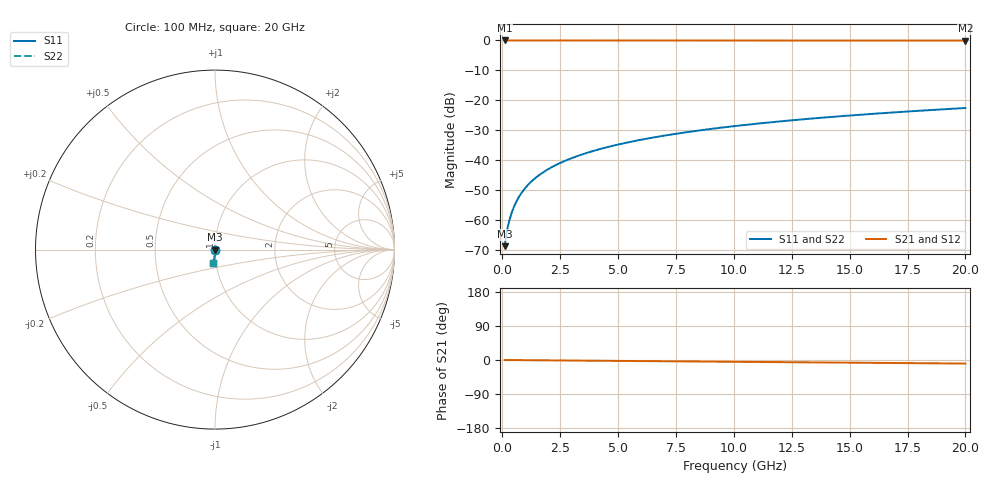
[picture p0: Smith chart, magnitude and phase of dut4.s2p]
! Touchstone file exported from HFSS 2026.1.0
!  File:  C:/ffzhzh/LocalFiles/Ansys_Project_Files/temp_val_TSV_4_1782974735_45568.aedt
!  Generated:  02:47:15 PM Jul  2, 2026
!  Design:  TSV
!  Project:  temp_val_TSV_4_1782974735_45568
! Variables:
!  h_bsmrdl = 2um
!  h_ox = 20um
!  h_rdl = 5um
!  h_sub = 91.24um
!  h_tmrdl = 5um
!  h_tsv = 91.24um
!  h_via = 3um
!  l_bsmrdl = 300um
!  l_sub = 416.96um
!  l_tmrdl = 200um
!  m_sub = 200um
!  pitch = 23.08um
!  r_tsv = 8.48um
!  s_tmrdl = 10um
!  w_bsmrdl = 18um
!  w_sub = 500um
!  w_tmrdl = 12um
!  x_tsv_center1 = 206um
!  x_tsv_center2 = 524um
!  x_tsv_center3 = 736um
!  x_tsv_center4 = 1054um
!  x_tsv_center5 = 1266um
!  x_tsv_center6 = 1584um
# GHz S MA R 50.000000
! Terminal data exported
! Port[1] = TSV1_1_T1
! Port[2] = TSV1_1_T2
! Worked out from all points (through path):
!   200 points, 100 MHz to 20 GHz, reference 50 ohm
!   highest |S21| = 0.00 dB at 100 MHz (marker M1); lowest = 0.0 dB at 20 GHz (marker M2)
!   group delay of S21, straight-line fit = 1.3 ps
!   lowest |S11| = -68.8 dB at 100 MHz (marker M3), VSWR 1.00, Z = 50 - j0.0301 ohm
!   |S11| at or under -10 dB: start of sweep to end of sweep
!   |S22| runs from -68.8 to -22.6 dB; largest |S21 - S12| = 3.1e-15
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0.1  0.000362 -56.3  0.9998 -0.1  0.9998 -0.1  0.000362 -56.3
! Gamma 0 0 0 0
! Port Impedance 50 0 50 0
0.2  0.000649 -69.8  0.9998 -0.1  0.9998 -0.1  0.000649 -69.8
0.3  0.000963 -74.6  0.9997 -0.2  0.9997 -0.2  0.000963 -74.6
0.4  0.001293 -76.9  0.9997 -0.2  0.9997 -0.2  0.001293 -76.9
0.5  0.001636 -78.4  0.9997 -0.2  0.9997 -0.2  0.001636 -78.4
0.7  0.002343 -80.3  0.9996 -0.3  0.9996 -0.3  0.002343 -80.3
0.8  0.002704 -81.1  0.9996 -0.4  0.9996 -0.4  0.002704 -81.1
1  0.003431 -82.3  0.9995 -0.5  0.9995 -0.5  0.003431 -82.3
1.2  0.004162 -83.3  0.9995 -0.6  0.9995 -0.6  0.004162 -83.3
1.4  0.004894 -84.1  0.9994 -0.7  0.9994 -0.7  0.004894 -84.1
1.7  0.005992 -85.0  0.9994 -0.8  0.9994 -0.8  0.005992 -85.0
2  0.007089 -85.8  0.9993 -1.0  0.9993 -1.0  0.007089 -85.8
2.7  0.009653 -87.0  0.9992 -1.3  0.9992 -1.3  0.009653 -87.0
3.5  0.01259 -87.9  0.9991 -1.7  0.9991 -1.7  0.01259 -87.9
4.2  0.01518 -88.6  0.999 -2.0  0.999 -2.0  0.01518 -88.6
5  0.01815 -89.2  0.9988 -2.4  0.9988 -2.4  0.01815 -89.2
6.8  0.02485 -90.5  0.9985 -3.2  0.9985 -3.2  0.02485 -90.5
8.3  0.03046 -91.5  0.9982 -3.9  0.9982 -3.9  0.03046 -91.5
10.1  0.03719 -92.6  0.9979 -4.8  0.9979 -4.8  0.03719 -92.6
13.4  0.04952 -94.4  0.9971 -6.3  0.9971 -6.3  0.04952 -94.4
16.7  0.06182 -96.1  0.9962 -7.8  0.9962 -7.8  0.06182 -96.1
20  0.07409 -97.8  0.9952 -9.4  0.9952 -9.4  0.07409 -97.8
